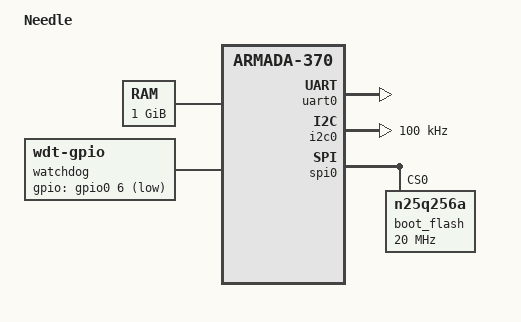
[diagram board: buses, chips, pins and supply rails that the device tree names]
// SPDX-License-Identifier: (GPL-2.0+ OR MIT)
/*
 * Device Tree file for Westermo Needle
 *
 * Copyright (C) 2021 Westermo Network Technologies
 *
 * Based on armada-xp-db-xc3-24g4xg.dts
 *
 * Note: this Device Tree assumes that the bootloader has remapped the
 * internal registers to 0xf1000000 (instead of the default
 * 0xd0000000). The 0xf1000000 is the default used by the recent,
 * DT-capable, U-Boot bootloaders provided by Marvell. Some earlier
 * boards were delivered with an older version of the bootloader that
 * left internal registers mapped at 0xd0000000. If you are in this
 * situation, you should either update your bootloader (preferred
 * solution) or the below Device Tree should be adjusted.
 */

/dts-v1/;
#include <dt-bindings/gpio/gpio.h>
#include "armada-xp-98dx3336.dtsi"

/ {
	model = "Needle";
	compatible = "wmo,needle", "marvell,armadaxp-98dx3336", "marvell,armada-370-xp";

	memory {
		device_type = "memory";
		reg = <0 0x00000000 0 0x40000000>; /* 1 GB */
	};

	watchdog {
		compatible = "linux,wdt-gpio";
		gpios = <&gpio0 6 GPIO_ACTIVE_LOW>;
		hw_algo = "toggle";
		hw_margin_ms = <250>;
                pinctrl-0 = <&watchdog_pins>;
		pinctrl-names = "default";
		always-running;
	};
};

&L2 {
	arm,parity-enable;
	marvell,ecc-enable;
};

&uart0 {
	status = "okay";
};

&i2c0 {
	clock-frequency = <100000>;
	status = "okay";
};

&spi0 {
	status = "okay";

	boot_flash: spi-flash@0 {
		#address-cells = <1>;
		#size-cells = <1>;
		compatible = "n25q256a", "jedec,spi-nor";
		reg = <0>; /* Chip select 0 */
		spi-max-frequency = <20000000>;
		m25p,fast-read;
	};
};

&pinctrl {
	watchdog_pins: watchdog-pins {
		marvell,pins =	"mpp6";
		marvell,function = "gpo";
	};
};
